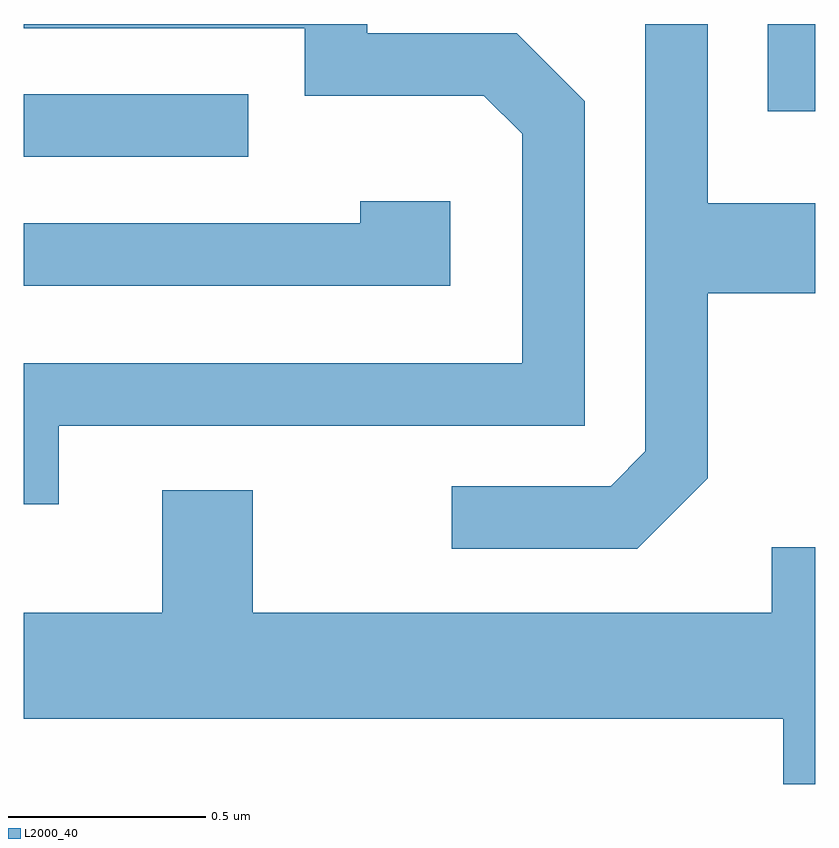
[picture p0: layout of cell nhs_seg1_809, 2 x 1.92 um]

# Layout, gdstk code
import gdstk
lib = gdstk.Library(unit=1e-6, precision=1e-09)
def R(c, l, rs):  # rectangles x0, y0, x1, y1
    for r in rs: c.add(gdstk.rectangle(r[:2], r[2:], *l))
def P(c, l, *ps):  # polygons
    for p in ps: c.add(gdstk.Polygon(p, *l))
L2000_40 = (2000, 40)

nhs_seg1_809 = lib.new_cell('nhs_seg1_809')
R(nhs_seg1_809, L2000_40, [(190.611,965.376,191.178,965.534), (192.491,965.491,192.611,965.712)])
P(nhs_seg1_809, L2000_40, [(192.339,964.564),(192.339,965.031),(192.611,965.031),(192.611,965.259),(192.339,965.259),(192.339,965.712),(192.181,965.712),(192.181,964.632),(192.094,964.544),(191.693,964.544),(191.693,964.386),(192.162,964.386)],
  [(190.699,964.696),(192.029,964.696),(192.029,965.517),(191.857,965.689),(191.479,965.689),(191.479,965.712),(190.611,965.712),(190.611,965.701),(191.321,965.701),(191.321,965.531),(191.774,965.531),(191.871,965.434),(191.871,964.854),(190.611,964.854),(190.611,964.498),(190.699,964.498)],
  [(191.689,965.264),(191.461,965.264),(191.461,965.209),(190.611,965.209),(190.611,965.051),(191.689,965.051)],
  [(192.611,964.389),(192.501,964.389),(192.501,964.224),(191.189,964.224),(191.189,964.534),(190.961,964.534),(190.961,964.224),(190.611,964.224),(190.611,963.956),(192.531,963.956),(192.531,963.791),(192.611,963.791)])

lib.write_gds('nhs_seg1_809.gds')
